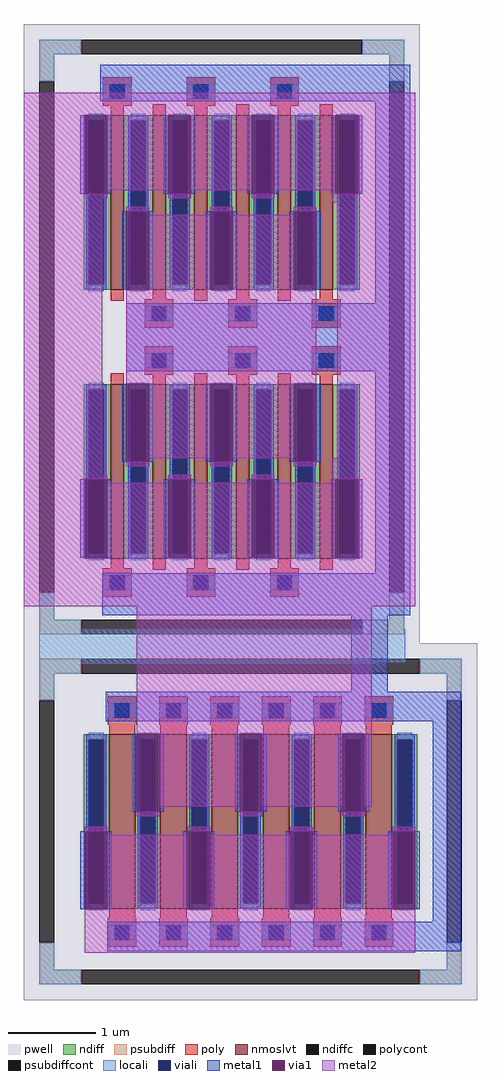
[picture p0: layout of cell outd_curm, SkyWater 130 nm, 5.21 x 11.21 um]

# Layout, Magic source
magic
tech sky130A
magscale 1 2
<< locali >>
rect -4 1692 836 1768
rect -4 1688 776 1692
<< metal1 >>
rect 136 2980 848 3064
rect 90 2768 100 2948
rect 152 2768 162 2948
rect 282 2768 292 2948
rect 344 2768 354 2948
rect 474 2768 484 2948
rect 536 2768 546 2948
rect 666 2768 676 2948
rect 728 2768 738 2948
rect 186 2548 196 2728
rect 248 2548 258 2728
rect 378 2548 388 2728
rect 440 2548 450 2728
rect 570 2548 580 2728
rect 632 2548 642 2728
rect 768 2516 848 2980
rect 196 2360 848 2516
rect 186 2152 196 2332
rect 248 2152 258 2332
rect 378 2152 388 2332
rect 440 2152 450 2332
rect 570 2152 580 2332
rect 632 2152 642 2332
rect 90 1932 100 2112
rect 152 1932 162 2112
rect 282 1932 292 2112
rect 344 1932 354 2112
rect 474 1932 484 2112
rect 536 1932 546 2112
rect 666 1932 676 2112
rect 728 1932 738 2112
rect 768 1896 848 2360
rect 140 1800 848 1896
rect 712 1624 796 1800
rect 148 1556 964 1624
rect 210 1348 220 1528
rect 272 1348 282 1528
rect 446 1348 456 1528
rect 508 1348 518 1528
rect 682 1348 692 1528
rect 744 1348 754 1528
rect 90 1124 100 1304
rect 152 1124 162 1304
rect 326 1124 336 1304
rect 388 1124 398 1304
rect 562 1124 572 1304
rect 624 1124 634 1304
rect 798 1124 808 1304
rect 860 1124 870 1304
rect 900 1096 964 1556
rect 152 1028 964 1096
<< via1 >>
rect 100 2768 152 2948
rect 292 2768 344 2948
rect 484 2768 536 2948
rect 676 2768 728 2948
rect 196 2548 248 2728
rect 388 2548 440 2728
rect 580 2548 632 2728
rect 196 2152 248 2332
rect 388 2152 440 2332
rect 580 2152 632 2332
rect 100 1932 152 2112
rect 292 1932 344 2112
rect 484 1932 536 2112
rect 676 1932 728 2112
rect 220 1348 272 1528
rect 456 1348 508 1528
rect 692 1348 744 1528
rect 100 1124 152 1304
rect 336 1124 388 1304
rect 572 1124 624 1304
rect 808 1124 860 1304
<< metal2 >>
rect -40 2948 860 3000
rect -40 2768 100 2948
rect 152 2776 292 2948
rect -40 2758 152 2768
rect 344 2776 484 2948
rect 292 2758 344 2768
rect 536 2776 676 2948
rect 484 2758 536 2768
rect 668 2768 676 2776
rect 728 2768 860 2948
rect -40 2120 140 2758
rect 668 2748 860 2768
rect 196 2728 248 2738
rect 388 2728 440 2738
rect 248 2548 388 2720
rect 580 2728 632 2738
rect 440 2548 580 2720
rect 196 2332 632 2548
rect 248 2160 388 2332
rect 196 2142 248 2152
rect 440 2160 580 2332
rect 388 2142 440 2152
rect 680 2160 860 2748
rect 580 2142 632 2152
rect -40 2112 152 2120
rect -40 1932 100 2112
rect 292 2112 344 2122
rect 152 1932 292 2104
rect 484 2112 536 2122
rect 344 1932 484 2104
rect 668 2112 860 2160
rect 668 2104 676 2112
rect 536 1932 676 2104
rect 728 1932 860 2112
rect -40 1820 860 1932
rect 220 1528 760 1820
rect 272 1360 456 1528
rect 220 1338 272 1348
rect 508 1360 692 1528
rect 456 1338 508 1348
rect 744 1360 760 1528
rect 692 1338 744 1348
rect 100 1304 152 1314
rect 336 1304 388 1314
rect 152 1124 336 1296
rect 572 1304 624 1314
rect 388 1124 572 1296
rect 808 1304 860 1314
rect 624 1124 808 1296
rect 100 1024 860 1124
use sky130_fd_pr__nfet_01v8_lvt_2CP4KV  sky130_fd_pr__nfet_01v8_lvt_2CP4KV_0
transform 1 0 415 0 1 2439
box -455 -719 455 719
use sky130_fd_pr__nfet_01v8_lvt_E7L2KW  sky130_fd_pr__nfet_01v8_lvt_E7L2KW_0
transform 1 0 481 0 1 1326
box -521 -410 521 410
<< end >>

# cell sky130_fd_pr__nfet_01v8_lvt_2CP4KV: kit device sky130_fd_pr__nfet_01v8_lvt, w 2 l 0.150 m 2 nf 6 diffcov 100 polycov 100 guard 1 glc 1 grc 1 gtc 1 gbc 1 tbcov 100 rlcov 100 topc 1 botc 1 poverlap 0 doverlap 1 lmin 0.15 wmin 0.42 compatible {sky130_fd_pr__nfet_01v8 sky130_fd_pr__nfet_01v8_lvt sky130_fd_bs_flash__special_sonosfet_star sky130_fd_pr__nfet_g5v0d10v5 sky130_fd_pr__nfet_05v0_nvt sky130_fd_pr__nfet_03v3_nvt} full_metal 1 viasrc 100 viadrn 100 viagate 100 viagb 0 viagr 0 viagl 0 viagt 0

# cell sky130_fd_pr__nfet_01v8_lvt_E7L2KW: kit device sky130_fd_pr__nfet_01v8_lvt, w 2 l 0.3 m 1 nf 6 diffcov 100 polycov 100 guard 1 glc 1 grc 1 gtc 1 gbc 1 tbcov 100 rlcov 100 topc 1 botc 1 poverlap 0 doverlap 1 lmin 0.15 wmin 0.42 compatible {sky130_fd_pr__nfet_01v8 sky130_fd_pr__nfet_01v8_lvt sky130_fd_bs_flash__special_sonosfet_star sky130_fd_pr__nfet_g5v0d10v5 sky130_fd_pr__nfet_05v0_nvt sky130_fd_pr__nfet_03v3_nvt} full_metal 1 viasrc 100 viadrn 100 viagate 100 viagb 0 viagr 0 viagl 0 viagt 0
